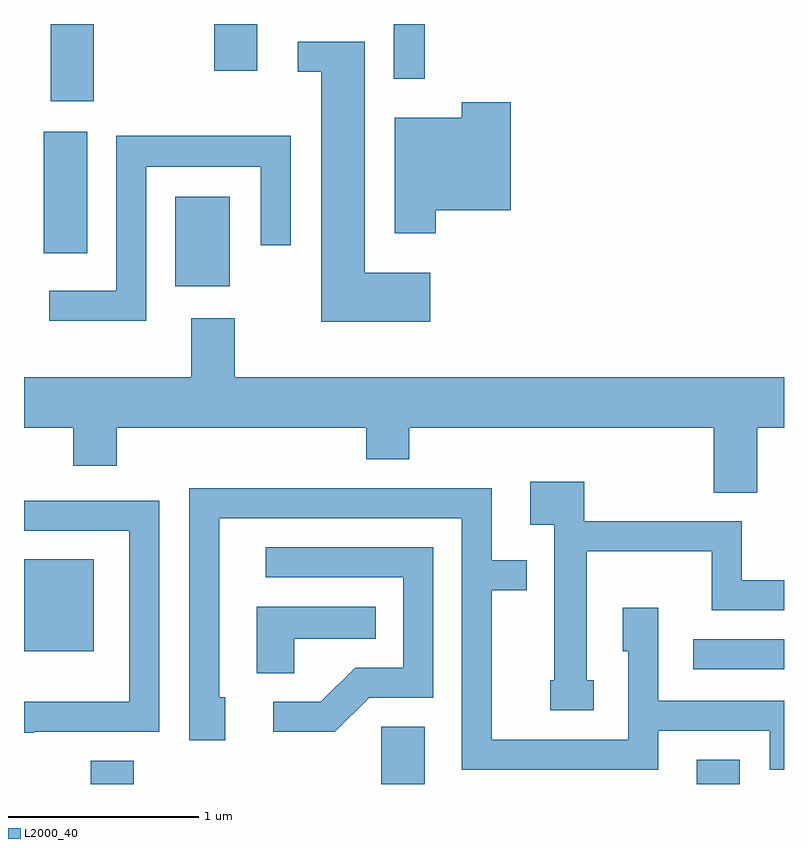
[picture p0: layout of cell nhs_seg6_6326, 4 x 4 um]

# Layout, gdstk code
import gdstk
lib = gdstk.Library(unit=1e-6, precision=1e-09)
def R(c, l, rs):  # rectangles x0, y0, x1, y1
    for r in rs: c.add(gdstk.rectangle(r[:2], r[2:], *l))
def P(c, l, *ps):  # polygons
    for p in ps: c.add(gdstk.Polygon(p, *l))
L2000_40 = (2000, 40)

nhs_seg6_6326 = lib.new_cell('nhs_seg6_6326')
R(nhs_seg6_6326, L2000_40, [(377.961,1548.162,378.189,1548.284), (379.491,1548.162,379.719,1548.464), (381.151,1548.162,381.379,1548.289), (381.133,1548.766,381.611,1548.924), (377.611,1548.861,377.979,1549.344), (378.406,1550.781,378.694,1551.254), (377.716,1550.956,377.944,1551.594), (377.751,1551.756,377.979,1552.162), (379.556,1551.873,379.719,1552.162), (378.611,1551.916,378.839,1552.162)])
P(nhs_seg6_6326, L2000_40, [(379.749,1550.854),(379.404,1550.854),(379.404,1552.069),(379.053,1552.069),(379.053,1551.911),(379.176,1551.911),(379.176,1550.596),(379.749,1550.596)],
  [(379.779,1551.181),(380.174,1551.181),(380.174,1551.749),(379.916,1551.749),(379.916,1551.669),(379.561,1551.669),(379.561,1551.061),(379.779,1551.061)],
  [(378.254,1551.411),(378.856,1551.411),(378.856,1550.998),(379.014,1550.998),(379.014,1551.574),(378.096,1551.574),(378.096,1550.759),(377.743,1550.759),(377.743,1550.601),(378.254,1550.601)],
  [(381.469,1550.036),(381.611,1550.036),(381.611,1550.304),(378.719,1550.304),(378.719,1550.614),(378.491,1550.614),(378.491,1550.304),(377.611,1550.304),(377.611,1550.036),(377.871,1550.036),(377.871,1549.836),(378.099,1549.836),(378.099,1550.036),(379.411,1550.036),(379.411,1549.871),(379.639,1549.871),(379.639,1550.036),(381.241,1550.036),(381.241,1549.696),(381.469,1549.696)],
  [(380.609,1548.709),(380.574,1548.709),(380.574,1549.386),(381.231,1549.386),(381.231,1549.076),(381.611,1549.076),(381.611,1549.234),(381.389,1549.234),(381.389,1549.544),(380.559,1549.544),(380.559,1549.754),(380.276,1549.754),(380.276,1549.526),(380.401,1549.526),(380.401,1548.709),(380.381,1548.709),(380.381,1548.551),(380.609,1548.551)],
  [(380.949,1548.441),(381.536,1548.441),(381.536,1548.236),(381.611,1548.236),(381.611,1548.599),(380.949,1548.599),(380.949,1549.089),(380.761,1549.089),(380.761,1548.861),(380.791,1548.861),(380.791,1548.394),(380.074,1548.394),(380.074,1549.181),(380.258,1549.181),(380.258,1549.339),(380.074,1549.339),(380.074,1549.719),(378.481,1549.719),(378.481,1548.391),(378.669,1548.391),(378.669,1548.619),(378.639,1548.619),(378.639,1549.561),(379.916,1549.561),(379.916,1548.236),(380.949,1548.236)],
  [(377.665,1548.436),(378.324,1548.436),(378.324,1549.654),(377.611,1549.654),(377.611,1549.496),(378.166,1549.496),(378.166,1548.594),(377.611,1548.594),(377.611,1548.431),(377.665,1548.431)],
  [(379.427,1548.616),(379.764,1548.616),(379.764,1549.409),(378.883,1549.409),(378.883,1549.251),(379.606,1549.251),(379.606,1548.774),(379.354,1548.774),(379.174,1548.594),(378.923,1548.594),(378.923,1548.436),(379.247,1548.436)],
  [(379.034,1548.926),(379.463,1548.926),(379.463,1549.094),(378.836,1549.094),(378.836,1548.746),(379.034,1548.746)])

lib.write_gds('nhs_seg6_6326.gds')
